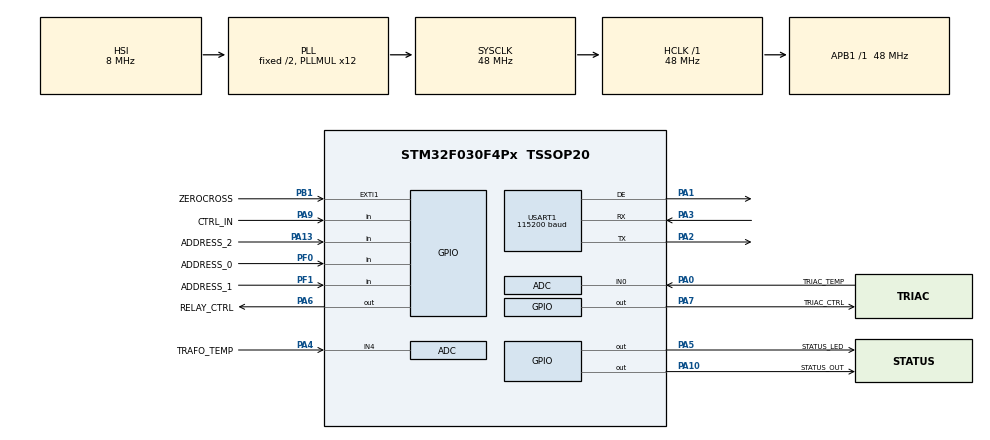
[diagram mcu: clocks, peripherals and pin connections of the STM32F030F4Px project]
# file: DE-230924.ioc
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Mcu.Family=STM32F0
Mcu.Name=STM32F030F4Px
Mcu.Package=TSSOP20
NVIC.EXTI0_1_IRQn=true\:0\:0\:false\:false\:true\:true\:true\:true
NVIC.TIM14_IRQn=true\:0\:0\:false\:false\:true\:true\:true\:true
NVIC.USART1_IRQn=true\:0\:0\:false\:false\:true\:true\:true\:true
PA0.GPIO_Label=TRIAC_TEMP
PA0.Mode=IN0
PA0.Signal=ADC_IN0
PA1.Mode=Hardware Flow Control (RS485)
PA1.Signal=USART1_DE
PA10.GPIO_Label=STATUS_OUT
PA10.Signal=GPIO_Output
PA13.GPIO_Label=ADDRESS_2
PA13.Signal=GPIO_Input
PA2.Mode=Asynchronous
PA2.Signal=USART1_TX
PA3.Mode=Asynchronous
PA3.Signal=USART1_RX
PA4.GPIO_Label=TRAFO_TEMP
PA4.Mode=IN4
PA4.Signal=ADC_IN4
PA5.GPIO_Label=STATUS_LED
PA5.Signal=GPIO_Output
PA6.GPIO_Label=RELAY_CTRL
PA6.Signal=GPIO_Output
PA7.GPIO_Label=TRIAC_CTRL
PA7.Signal=GPIO_Output
PA9.GPIO_Label=CTRL_IN
PA9.GPIO_PuPd=GPIO_PULLDOWN
PA9.Signal=GPIO_Input
PB1.GPIO_Label=ZEROCROSS
PB1.GPIO_PuPd=GPIO_PULLDOWN
PB1.Signal=GPXTI1
PF0-OSC_IN.GPIO_Label=ADDRESS_0
PF0-OSC_IN.GPIO_PuPd=GPIO_PULLUP
PF0-OSC_IN.Signal=GPIO_Input
PF1-OSC_OUT.GPIO_Label=ADDRESS_1
PF1-OSC_OUT.GPIO_PuPd=GPIO_PULLUP
PF1-OSC_OUT.Signal=GPIO_Input
ProjectManager.HeapSize=0x200
ProjectManager.StackSize=0x400
ProjectManager.TargetToolchain=MDK-ARM V5.32
RCC.AHBFreq_Value=48000000
RCC.APB1Freq_Value=48000000
RCC.APB1TimFreq_Value=48000000
RCC.HCLKFreq_Value=48000000
RCC.PLLMUL=RCC_PLL_MUL12
RCC.SYSCLKFreq_VALUE=48000000
RCC.SYSCLKSource=RCC_SYSCLKSOURCE_PLLCLK
TIM14.Period=4799
USART1.BaudRate=115200
USART1.VirtualMode-Asynchronous=VM_ASYNC
USART1.VirtualMode-Hardware\ Flow\ Control\ (RS485)=VM_ASYNC
VP_CRC_VS_CRC.Mode=CRC_Activate
VP_IWDG_VS_IWDG.Mode=IWDG_Activate
VP_TIM14_VS_ClockSourceINT.Mode=Enable_Timer
board=custom

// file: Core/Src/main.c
/* USER CODE BEGIN Header */
/**
  ******************************************************************************
  * @file           : main.c
  * @brief          : Main program body
  ******************************************************************************
  * @attention
  *
  * Copyright (c) 2024 STMicroelectronics.
  * All rights reserved.
  *
  * This software is licensed under terms that can be found in the LICENSE file
  * in the root directory of this software component.
  * If no LICENSE file comes with this software, it is provided AS-IS.
  *
  ******************************************************************************
  */
/* USER CODE END Header */
#include "main.h"

/* USER CODE BEGIN Includes */
#include <math.h>
/* USER CODE END Includes */

/* USER CODE BEGIN PD */
typedef enum
{
    INIT = 0,
    IDLE,
    START,
    RUN,
    STOP,
    SYS_ERROR
} sys_state_td;

#define ADC_READOUT_PERIOD 100
#define NTC_RREF                    10000U  // 10k NTC value of at 25 degrees
#define NTC_B_VALUE                 3977U   // NTC beta parameter
#define NTC_PULLUP                  10000U	// 10k pullup resistor
#define STARTUP_TIME                2000U   // max startup time
#define MIN_ANGLE                   80      // shutdown triac before zeroross
#define START_ANGLE                 75      // zerocros x 100uS triac startup angle
#define STOP_ANGLE                  5       // zerocros x 100uS triac stop angle
#define RELAY_SW_TIME               20      // 20mS relay to switch state
#define TRAFO_TEMP_TRESHOLD         400     // adc value for trafo ntc sensor overtemperature  error
#define TRIAC_TEMP_TRESHOLD         400     // adc value for triac ntc sensor overtemperature  error
#define SENSOR_VALID_DN_TRESHOLD    10      // adc value below this means that the sensor is not used
#define SENSOR_VALID_UP_TRESHOLD    4000    // adc value above this means that the sensor is open
#define SS_START                    0xA1
#define SS_STOP                     0xA2
#define SS_START_ALL                0xA3
#define SS_STOP_ALL                 0xA4
/* USER CODE END PD */

/* USER CODE BEGIN PM */
#define SoftStartReady()                (sys_flags |= (1U << 0))
#define SoftStartError()                (sys_flags &= (~(1U << 0)))
#define SoftStartOn()                   (sys_flags |= (1U << 1))
#define SoftStartOff()                  (sys_flags &= (~(1U << 1)))
#define TrafoTemperatureSensorUsed()    (sys_flags |= (1U << 2))
#define TrafoTemperatureSensorNotUsed() (sys_flags &= (~(1U << 2)))
#define IsTrafoTemperatureSensorUsed()  (sys_flags & (1U << 2))
#define TriacTemperatureSensorUsed()    (sys_flags |= (1U << 3))
#define TriacTemperatureSensorNotUsed() (sys_flags &= (~(1U << 3)))
#define IsTriacTemperatureSensorUsed()  (sys_flags & (1U << 3))
#define TrafoTemperatureErrorSet()      (sys_flags |= (1U << 4))
#define TrafoTemperatureErrorReset()    (sys_flags &= (~(1U << 4)))
#define IsTrafoTemperatureErrorActiv()  (sys_flags & (1U << 4))
#define TriacTemperatureErrorSet()      (sys_flags |= (1U << 5))
#define TriacTemperatureErrorReset()    (sys_flags &= (~(1U << 5)))
#define IsTriacTemperatureErrorActiv()  (sys_flags & (1U << 5))
#define TimeoutErrorSet()               (sys_flags |= (1U << 6))
#define TimeoutErrorReset()             (sys_flags &= (~(1U << 6)))
#define IsTimeoutErrorActiv()           (sys_flags & (1U << 6))
/* USER CODE END PM */

ADC_HandleTypeDef hadc;

CRC_HandleTypeDef hcrc;

IWDG_HandleTypeDef hiwdg;

TIM_HandleTypeDef htim14;

UART_HandleTypeDef huart1;

/* USER CODE BEGIN PV */
TinyFrame tfapp;
uint8_t rec, addr;
uint8_t sys_flags;
uint8_t led_cnt;
uint8_t led_rep;
uint8_t error_cnt;

uint16_t trafo_temp;
uint16_t triac_temp;
volatile uint16_t tmr;
volatile uint8_t blink_done = 0;
uint32_t chktmr;
uint32_t start_tmr;
uint32_t start_tout;
uint32_t led_tmr;
uint32_t led_tout;
uint32_t start_led_tmr;

bool init_tf = false;
volatile bool start = false;
volatile bool stop = false;
volatile bool end = false;
volatile bool error = false;
volatile bool remote = false;
static bool trigger1 = false;
static bool trigger2 = false;
sys_state_td sys_state = INIT;
/* USER CODE END PV */

void SystemClock_Config(void);
static void MX_GPIO_Init(void);
static void MX_ADC_Init(void);
static void MX_IWDG_Init(void);
static void MX_TIM14_Init(void);
static void MX_USART1_UART_Init(void);
static void MX_CRC_Init(void);
/* USER CODE BEGIN PFP */
void RS485_Tick(void);
void RS485_Init(void);
static void ADC3_Read(void);
static void Error_Signal(void);
static uint8_t ReadAddressAndDelay(void);
static void HandleLedBlink(uint32_t repetitions);
TF_Result STATUS_Listener(TinyFrame *tf, TF_Msg *msg);
TF_Result SOFTSTART_Listener(TinyFrame *tf, TF_Msg *msg);
/* USER CODE END PFP */

int main(void)
{

    /* MCU Configuration--------------------------------------------------------*/

    /* Reset of all peripherals, Initializes the Flash interface and the Systick. */
    HAL_Init();

    /* Configure the system clock */
    SystemClock_Config();

    /* Initialize all configured peripherals */
    MX_GPIO_Init();
    MX_ADC_Init();
    MX_IWDG_Init();
    MX_TIM14_Init();
    MX_USART1_UART_Init();
    MX_CRC_Init();
    /* USER CODE BEGIN 2 */
    RS485_Init();

    /* USER CODE END 2 */

    /* Infinite loop */
    /* USER CODE BEGIN WHILE */
    while(1)
    {
        ADC3_Read();
        if(error == true) sys_state = SYS_ERROR;
        switch(sys_state)
        {
        case INIT:
            HAL_Delay(500);
            HAL_GPIO_WritePin(STATUS_LED_GPIO_Port, STATUS_LED_Pin, GPIO_PIN_RESET);
            HAL_GPIO_WritePin(STATUS_OUT_GPIO_Port, STATUS_OUT_Pin, GPIO_PIN_RESET);
            HAL_GPIO_WritePin(RELAY_CTRL_GPIO_Port, RELAY_CTRL_Pin, GPIO_PIN_RESET);
            HAL_GPIO_WritePin(TRIAC_CTRL_GPIO_Port, TRIAC_CTRL_Pin, GPIO_PIN_RESET);
            addr = ReadAddressAndDelay();
            start_tout = addr * 2000U;
            HAL_Delay(500);
            SoftStartReady();
            TimeoutErrorReset();
            TriacTemperatureErrorReset();
            TrafoTemperatureErrorReset();
            sys_state = IDLE;
            trigger1 = false;
            trigger2 = false;
            remote = false;
            start = false;
            stop = false;
            end  = false;
            led_cnt = 0;
            led_rep = 0;
            led_tmr = 0;
            error_cnt = 0;
            led_tout = 0;
            break;

        case IDLE:
            SoftStartOff();
            SoftStartReady();
            if(!start_tmr && (remote || (HAL_GPIO_ReadPin(CTRL_IN_GPIO_Port, CTRL_IN_Pin) == GPIO_PIN_SET)))
            {
                start_tmr = HAL_GetTick();
                start_led_tmr = HAL_GetTick();
            }
            else if(start_tmr && !remote && (HAL_GPIO_ReadPin(CTRL_IN_GPIO_Port, CTRL_IN_Pin) == GPIO_PIN_RESET))
            {
                start_tmr = 0;
                start_led_tmr = 0;
                HAL_GPIO_WritePin(STATUS_LED_GPIO_Port, STATUS_LED_Pin, GPIO_PIN_RESET);
            }
            if(start_tmr && ((HAL_GetTick() - start_tmr) >= start_tout))
            {
                HAL_GPIO_WritePin(STATUS_LED_GPIO_Port, STATUS_LED_Pin, GPIO_PIN_SET);
                HAL_GPIO_WritePin(STATUS_OUT_GPIO_Port, STATUS_OUT_Pin, GPIO_PIN_SET);
                chktmr = HAL_GetTick();
                start_tmr = 0;
                start_led_tmr = 0;
                sys_state = START;
                tmr = START_ANGLE;
                trigger1 = false;
                trigger2 = false;
                start = true;
                stop = false;
                end  = false;
            }
            else if(start_led_tmr && ((HAL_GetTick() - start_led_tmr) >= 50))
            {
                start_led_tmr = HAL_GetTick();
                HAL_GPIO_TogglePin(STATUS_LED_GPIO_Port, STATUS_LED_Pin);
            }
            break;

        case START:
            SoftStartOn();
            SoftStartReady();
            if(!remote && (HAL_GPIO_ReadPin(CTRL_IN_GPIO_Port, CTRL_IN_Pin) == GPIO_PIN_RESET))
            {
                chktmr = HAL_GetTick();
                sys_state = STOP;
                start = false;
                stop = true;
                end  = false;
            }
            else if(end == true)
            {
                HAL_GPIO_WritePin(RELAY_CTRL_GPIO_Port, RELAY_CTRL_Pin, GPIO_PIN_SET);
                chktmr = HAL_GetTick();
                sys_state = RUN;
            }
            if((HAL_GetTick() - chktmr) >= STARTUP_TIME)
            {
                TimeoutErrorSet();
                sys_state = SYS_ERROR;
            }
            break;

        case RUN:
            SoftStartOn();
            SoftStartReady();
            if(!remote && (HAL_GPIO_ReadPin(CTRL_IN_GPIO_Port, CTRL_IN_Pin) == GPIO_PIN_RESET))
            {
                chktmr = HAL_GetTick();
                tmr = STOP_ANGLE;
                sys_state = STOP;
                start = false;
                stop = true;
                end  = false;
                HAL_Delay(20);
                HAL_GPIO_WritePin(RELAY_CTRL_GPIO_Port, RELAY_CTRL_Pin, GPIO_PIN_RESET);
            }
            if((start && end) && ((HAL_GetTick() - chktmr) >= RELAY_SW_TIME))
            {
                start = false;
                stop = false;
                end  = false;
            }
            break;

        case STOP:
            SoftStartOff();
            SoftStartReady();
            if(end == true)
            {
                HAL_GPIO_WritePin(STATUS_LED_GPIO_Port, STATUS_LED_Pin, GPIO_PIN_RESET);
                HAL_GPIO_WritePin(STATUS_OUT_GPIO_Port, STATUS_OUT_Pin, GPIO_PIN_RESET);
                addr = ReadAddressAndDelay();
                start_tout = addr * 2000U;
                chktmr = HAL_GetTick();
                sys_state = IDLE;
                remote = false;
                start = false;
                stop = false;
                end  = false;
            }
            if((HAL_GetTick() - chktmr) >= STARTUP_TIME)
            {
                TimeoutErrorSet();
                sys_state = SYS_ERROR;
            }
            break;

        case SYS_ERROR:
            end = false;
            stop = false;
            start = false;
            SoftStartOff();
            SoftStartError();
            HAL_GPIO_WritePin(RELAY_CTRL_GPIO_Port, RELAY_CTRL_Pin, GPIO_PIN_RESET);
            HAL_GPIO_WritePin(TRIAC_CTRL_GPIO_Port, TRIAC_CTRL_Pin, GPIO_PIN_RESET);
            if(!remote && (HAL_GPIO_ReadPin(CTRL_IN_GPIO_Port, CTRL_IN_Pin) == GPIO_PIN_RESET) &&
                    !IsTrafoTemperatureErrorActiv() &&
                    !IsTriacTemperatureErrorActiv())
            {
                error = false;
                sys_state = INIT;
            }
            Error_Signal();
            break;
        }
        /* USER CODE END WHILE */

        /* USER CODE BEGIN 3 */

#ifdef USE_WATCHDOG
        HAL_IWDG_Refresh(&hiwdg);
#endif
    }
    /* USER CODE END 3 */
}

void SystemClock_Config(void)
{
    RCC_OscInitTypeDef RCC_OscInitStruct = {0};
    RCC_ClkInitTypeDef RCC_ClkInitStruct = {0};
    RCC_PeriphCLKInitTypeDef PeriphClkInit = {0};

    /** Initializes the RCC Oscillators according to the specified parameters
    * in the RCC_OscInitTypeDef structure.
    */
    RCC_OscInitStruct.OscillatorType = RCC_OSCILLATORTYPE_HSI|RCC_OSCILLATORTYPE_HSI14
                                       |RCC_OSCILLATORTYPE_LSI;
    RCC_OscInitStruct.HSIState = RCC_HSI_ON;
    RCC_OscInitStruct.HSI14State = RCC_HSI14_ON;
    RCC_OscInitStruct.HSICalibrationValue = RCC_HSICALIBRATION_DEFAULT;
    RCC_OscInitStruct.HSI14CalibrationValue = 16;
    RCC_OscInitStruct.LSIState = RCC_LSI_ON;
    RCC_OscInitStruct.PLL.PLLState = RCC_PLL_ON;
    RCC_OscInitStruct.PLL.PLLSource = RCC_PLLSOURCE_HSI;
    RCC_OscInitStruct.PLL.PLLMUL = RCC_PLL_MUL12;
    RCC_OscInitStruct.PLL.PREDIV = RCC_PREDIV_DIV1;
    if (HAL_RCC_OscConfig(&RCC_OscInitStruct) != HAL_OK)
    {
        Error_Handler();
    }

    /** Initializes the CPU, AHB and APB buses clocks
    */
    RCC_ClkInitStruct.ClockType = RCC_CLOCKTYPE_HCLK|RCC_CLOCKTYPE_SYSCLK
                                  |RCC_CLOCKTYPE_PCLK1;
    RCC_ClkInitStruct.SYSCLKSource = RCC_SYSCLKSOURCE_PLLCLK;
    RCC_ClkInitStruct.AHBCLKDivider = RCC_SYSCLK_DIV1;
    RCC_ClkInitStruct.APB1CLKDivider = RCC_HCLK_DIV1;

    if (HAL_RCC_ClockConfig(&RCC_ClkInitStruct, FLASH_LATENCY_1) != HAL_OK)
    {
        Error_Handler();
    }
    PeriphClkInit.PeriphClockSelection = RCC_PERIPHCLK_USART1;
    PeriphClkInit.Usart1ClockSelection = RCC_USART1CLKSOURCE_PCLK1;
    if (HAL_RCCEx_PeriphCLKConfig(&PeriphClkInit) != HAL_OK)
    {
        Error_Handler();
    }
}

static void MX_ADC_Init(void)
{

    ADC_ChannelConfTypeDef sConfig = {0};

    /** Configure the global features of the ADC (Clock, Resolution, Data Alignment and number of conversion)
    */
    hadc.Instance = ADC1;
    hadc.Init.ClockPrescaler = ADC_CLOCK_ASYNC_DIV1;
    hadc.Init.Resolution = ADC_RESOLUTION_12B;
    hadc.Init.DataAlign = ADC_DATAALIGN_RIGHT;
    hadc.Init.ScanConvMode = ADC_SCAN_DIRECTION_FORWARD;
    hadc.Init.EOCSelection = ADC_EOC_SINGLE_CONV;
    hadc.Init.LowPowerAutoWait = DISABLE;
    hadc.Init.LowPowerAutoPowerOff = DISABLE;
    hadc.Init.ContinuousConvMode = DISABLE;
    hadc.Init.DiscontinuousConvMode = DISABLE;
    hadc.Init.ExternalTrigConv = ADC_SOFTWARE_START;
    hadc.Init.ExternalTrigConvEdge = ADC_EXTERNALTRIGCONVEDGE_NONE;
    hadc.Init.DMAContinuousRequests = DISABLE;
    hadc.Init.Overrun = ADC_OVR_DATA_PRESERVED;
    if (HAL_ADC_Init(&hadc) != HAL_OK)
    {
        Error_Handler();
    }

    /** Configure for the selected ADC regular channel to be converted.
    */
    sConfig.Channel = ADC_CHANNEL_0;
    sConfig.Rank = ADC_RANK_CHANNEL_NUMBER;
    sConfig.SamplingTime = ADC_SAMPLETIME_1CYCLE_5;
    if (HAL_ADC_ConfigChannel(&hadc, &sConfig) != HAL_OK)
    {
        Error_Handler();
    }

    /** Configure for the selected ADC regular channel to be converted.
    */
    sConfig.Channel = ADC_CHANNEL_4;
    if (HAL_ADC_ConfigChannel(&hadc, &sConfig) != HAL_OK)
    {
        Error_Handler();
    }

}

static void MX_CRC_Init(void)
{

    hcrc.Instance = CRC;
    hcrc.Init.DefaultInitValueUse = DEFAULT_INIT_VALUE_ENABLE;
    hcrc.Init.InputDataInversionMode = CRC_INPUTDATA_INVERSION_NONE;
    hcrc.Init.OutputDataInversionMode = CRC_OUTPUTDATA_INVERSION_DISABLE;
    hcrc.InputDataFormat = CRC_INPUTDATA_FORMAT_BYTES;
    if (HAL_CRC_Init(&hcrc) != HAL_OK)
    {
        Error_Handler();
    }

}

static void MX_IWDG_Init(void)
{

    /* USER CODE BEGIN IWDG_Init 0 */
#ifdef USE_WATCHDOG
    /* USER CODE END IWDG_Init 0 */

    hiwdg.Instance = IWDG;
    hiwdg.Init.Prescaler = IWDG_PRESCALER_32;
    hiwdg.Init.Window = 4095;
    hiwdg.Init.Reload = 4095;
    if (HAL_IWDG_Init(&hiwdg) != HAL_OK)
    {
        Error_Handler();
    }
    /* USER CODE BEGIN IWDG_Init 2 */
#endif
    /* USER CODE END IWDG_Init 2 */

}

static void MX_TIM14_Init(void)
{

    htim14.Instance = TIM14;
    htim14.Init.Prescaler = 0;
    htim14.Init.CounterMode = TIM_COUNTERMODE_UP;
    htim14.Init.Period = 4799;
    htim14.Init.ClockDivision = TIM_CLOCKDIVISION_DIV1;
    htim14.Init.AutoReloadPreload = TIM_AUTORELOAD_PRELOAD_DISABLE;
    if (HAL_TIM_Base_Init(&htim14) != HAL_OK)
    {
        Error_Handler();
    }

}

static void MX_USART1_UART_Init(void)
{

    huart1.Instance = USART1;
    huart1.Init.BaudRate = 115200;
    huart1.Init.WordLength = UART_WORDLENGTH_8B;
    huart1.Init.StopBits = UART_STOPBITS_1;
    huart1.Init.Parity = UART_PARITY_NONE;
    huart1.Init.Mode = UART_MODE_TX_RX;
    huart1.Init.HwFlowCtl = UART_HWCONTROL_NONE;
    huart1.Init.OverSampling = UART_OVERSAMPLING_16;
    huart1.Init.OneBitSampling = UART_ONE_BIT_SAMPLE_DISABLE;
    huart1.AdvancedInit.AdvFeatureInit = UART_ADVFEATURE_NO_INIT;
    if (HAL_RS485Ex_Init(&huart1, UART_DE_POLARITY_HIGH, 0, 0) != HAL_OK)
    {
        Error_Handler();
    }

}

static void MX_GPIO_Init(void)
{
    GPIO_InitTypeDef GPIO_InitStruct = {0};

    /* GPIO Ports Clock Enable */
    __HAL_RCC_GPIOF_CLK_ENABLE();
    __HAL_RCC_GPIOA_CLK_ENABLE();
    __HAL_RCC_GPIOB_CLK_ENABLE();

    /*Configure GPIO pin Output Level */
    HAL_GPIO_WritePin(GPIOA, STATUS_LED_Pin|RELAY_CTRL_Pin|TRIAC_CTRL_Pin|STATUS_OUT_Pin, GPIO_PIN_RESET);

    /*Configure GPIO pins : ADDRESS_0_Pin ADDRESS_1_Pin */
    GPIO_InitStruct.Pin = ADDRESS_0_Pin|ADDRESS_1_Pin;
    GPIO_InitStruct.Mode = GPIO_MODE_INPUT;
    GPIO_InitStruct.Pull = GPIO_PULLUP;
    HAL_GPIO_Init(GPIOF, &GPIO_InitStruct);

    /*Configure GPIO pins : STATUS_LED_Pin RELAY_CTRL_Pin TRIAC_CTRL_Pin STATUS_OUT_Pin */
    GPIO_InitStruct.Pin = STATUS_LED_Pin|RELAY_CTRL_Pin|TRIAC_CTRL_Pin|STATUS_OUT_Pin;
    GPIO_InitStruct.Mode = GPIO_MODE_OUTPUT_PP;
    GPIO_InitStruct.Pull = GPIO_NOPULL;
    GPIO_InitStruct.Speed = GPIO_SPEED_FREQ_LOW;
    HAL_GPIO_Init(GPIOA, &GPIO_InitStruct);

    /*Configure GPIO pin : ZEROCROSS_Pin */
    GPIO_InitStruct.Pin = ZEROCROSS_Pin;
    GPIO_InitStruct.Mode = GPIO_MODE_IT_RISING;
    GPIO_InitStruct.Pull = GPIO_PULLDOWN;
    HAL_GPIO_Init(ZEROCROSS_GPIO_Port, &GPIO_InitStruct);

    /*Configure GPIO pin : CTRL_IN_Pin */
    GPIO_InitStruct.Pin = CTRL_IN_Pin;
    GPIO_InitStruct.Mode = GPIO_MODE_INPUT;
    GPIO_InitStruct.Pull = GPIO_PULLDOWN;
    HAL_GPIO_Init(CTRL_IN_GPIO_Port, &GPIO_InitStruct);

    /*Configure GPIO pin : ADDRESS_2_Pin */
    GPIO_InitStruct.Pin = ADDRESS_2_Pin;
    GPIO_InitStruct.Mode = GPIO_MODE_INPUT;
    GPIO_InitStruct.Pull = GPIO_NOPULL;
    HAL_GPIO_Init(ADDRESS_2_GPIO_Port, &GPIO_InitStruct);

    /* EXTI interrupt init*/
    HAL_NVIC_SetPriority(EXTI0_1_IRQn, 0, 0);
    HAL_NVIC_EnableIRQ(EXTI0_1_IRQn);

}

/* USER CODE BEGIN 4 */
static uint8_t ReadAddressAndDelay(void)
{
    uint8_t tmp = 0;
    if(HAL_GPIO_ReadPin(ADDRESS_0_GPIO_Port, ADDRESS_0_Pin) == GPIO_PIN_RESET) tmp |= 0x01U;
    if(HAL_GPIO_ReadPin(ADDRESS_1_GPIO_Port, ADDRESS_1_Pin) == GPIO_PIN_RESET) tmp |= 0x02U;
    if(HAL_GPIO_ReadPin(ADDRESS_2_GPIO_Port, ADDRESS_2_Pin) == GPIO_PIN_RESET) tmp |= 0x04U;
    return tmp;
}
/**
  * @brief  stop timer interrupt, fire triac, and compare current angle in 100us increments
  * @param
  * @retval
  */
void HAL_TIM_PeriodElapsedCallback(TIM_HandleTypeDef *htim)
{

    static uint32_t loctmr = 0;

    __HAL_TIM_CLEAR_IT(&htim14, TIM_IT_UPDATE);

    ++loctmr;
    if((loctmr >= tmr) && !trigger1)
    {
        trigger1 = true;
        trigger2 = false;
//		HAL_TIM_Base_Stop_IT(&htim14);
        HAL_GPIO_WritePin(TRIAC_CTRL_GPIO_Port, TRIAC_CTRL_Pin, GPIO_PIN_SET);
        if(stop == true)
        {
            if(tmr < START_ANGLE) ++tmr;
            else end = true;
        }
        else if(start == true)
        {
            if(tmr > STOP_ANGLE) --tmr;
            else end = true;
        }
    }
    else if((loctmr >= MIN_ANGLE) && !trigger2) {
        loctmr = 0;
        trigger1 = false;
        trigger2 = true;
        HAL_TIM_Base_Stop_IT(&htim14);
        HAL_GPIO_WritePin(TRIAC_CTRL_GPIO_Port, TRIAC_CTRL_Pin, GPIO_PIN_RESET);
    }
}
/**
  * @brief
  * @param
  * @retval
  */
void HAL_GPIO_EXTI_Callback(uint16_t GPIO_Pin)
{
    if(GPIO_Pin == ZEROCROSS_Pin)
    {
        if(end == false) HAL_GPIO_WritePin(TRIAC_CTRL_GPIO_Port, TRIAC_CTRL_Pin, GPIO_PIN_RESET);
        if(((start == true) || (stop == true)) && (end == false))
        {
            HAL_TIM_Base_Stop_IT(&htim14);
            __HAL_TIM_SET_COUNTER(&htim14, 0);
            HAL_TIM_Base_Start_IT(&htim14);
        }
    }
}
/**
  * @brief
  * @param
  * @retval
  */
TF_Result STATUS_Listener(TinyFrame *tf, TF_Msg *msg)
{
    uint8_t ret[6];
    if(addr == msg->data[0])
    {
        ret[0] = sys_flags;
        ret[1] = sys_state;
        ret[2] = (trafo_temp >> 8);
        ret[3] = (trafo_temp & 0xFF);
        ret[4] = (triac_temp >> 8);
        ret[5] = (triac_temp & 0xFF);
        msg->data = ret;
        msg->len = 6;
        TF_Respond(tf, msg);
    }
    return TF_STAY;
}
/**
  * @brief
  * @param
  * @retval
  */
TF_Result SOFTSTART_Listener(TinyFrame *tf, TF_Msg *msg)
{
    uint8_t ret[6], res = 0;

    if(addr == msg->data[0])
    {
        switch(msg->data[1])
        {
        case SS_START:
            ++res;
        case SS_START_ALL:
            remote = true;
            break;
        case SS_STOP:
            ++res;
        case SS_STOP_ALL:
            remote = false;
            break;
        default:
            break;
        }
    }

    if(res)
    {
        ret[0] = sys_flags;
        ret[1] = sys_state;
        ret[2] = (trafo_temp >> 8);
        ret[3] = (trafo_temp & 0xFF);
        ret[4] = (triac_temp >> 8);
        ret[5] = (triac_temp & 0xFF);
        msg->data = ret;
        msg->len = 8;
        TF_Respond(tf, msg);
    }
    return TF_STAY;
}
/**
  * @brief
  * @param
  * @retval
  */
void RS485_Init(void)
{
    if(!init_tf)
    {
        init_tf = TF_InitStatic(&tfapp, TF_SLAVE);
        TF_AddTypeListener(&tfapp, V_SOFT_START, STATUS_Listener);
        TF_AddTypeListener(&tfapp, S_SOFT_START, SOFTSTART_Listener);
    }
    HAL_UART_Receive_IT(&huart1, &rec, 1);
}
/**
  * @brief
  * @param
  * @retval
  */
void RS485_Tick(void)
{
    if(init_tf == true)
    {
        TF_Tick(&tfapp);
    }
}
/**
  * @brief
  * @param
  * @retval
  */
void TF_WriteImpl(TinyFrame *tf, const uint8_t *buff, uint32_t len)
{
    HAL_UART_Transmit(&huart1, (uint8_t*)buff, len, RESP_TOUT);
    while(huart1.gState != HAL_UART_STATE_READY) continue;
    HAL_UART_Receive_IT(&huart1, &rec, 1);
}
/**
  * @brief
  * @param
  * @retval
  */
void HAL_UART_RxCpltCallback(UART_HandleTypeDef *huart)
{
    TF_AcceptChar(&tfapp, rec);
    if(HAL_UART_Receive_IT(&huart1, &rec, 1) != HAL_OK)
    {
        Error_Handler();
    }
}
/**
  * @brief
  * @param
  * @retval
  */
void HAL_UART_TxCpltCallback(UART_HandleTypeDef *huart)
{
}
/**
  * @brief
  * @param
  * @retval
  */
void HAL_UART_ErrorCallback(UART_HandleTypeDef *huart)
{
    __HAL_UART_CLEAR_PEFLAG(&huart1);
    __HAL_UART_CLEAR_FEFLAG(&huart1);
    __HAL_UART_CLEAR_NEFLAG(&huart1);
    __HAL_UART_CLEAR_IDLEFLAG(&huart1);
    __HAL_UART_CLEAR_OREFLAG(&huart1);
    HAL_UART_AbortReceive(&huart1);
    HAL_UART_Receive_IT(&huart1, &rec, 1);
}
/**
  * @brief
  * @param
  * @retval
  */

static void ADC3_Read(void)
{
    ADC_ChannelConfTypeDef sConfig;

    static uint8_t adc_cnt = 0U;
    static uint32_t adc_timer = 0U;

    if((HAL_GetTick() - adc_timer) >= ADC_READOUT_PERIOD)
    {
        adc_timer = HAL_GetTick();
        sConfig.Rank = ADC_RANK_CHANNEL_NUMBER;
        sConfig.SamplingTime = ADC_SAMPLETIME_13CYCLES_5;

        if(adc_cnt == 0U)
        {
            sConfig.Channel = ADC_CHANNEL_0;
            HAL_ADC_ConfigChannel(&hadc, &sConfig);
            sConfig.Channel = ADC_CHANNEL_5;
            sConfig.Rank = ADC_RANK_NONE;
            HAL_ADC_ConfigChannel(&hadc, &sConfig);
        }
        else if(adc_cnt == 1U)
        {
            sConfig.Channel = ADC_CHANNEL_4;
            HAL_ADC_ConfigChannel(&hadc, &sConfig);
            sConfig.Channel = ADC_CHANNEL_0;
            sConfig.Rank = ADC_RANK_NONE;
            HAL_ADC_ConfigChannel(&hadc, &sConfig);
        }

        HAL_ADC_Start(&hadc);
        HAL_ADC_PollForConversion(&hadc, 10);

        if(adc_cnt == 0U)
        {
            triac_temp = HAL_ADC_GetValue(&hadc);
            if(triac_temp < SENSOR_VALID_DN_TRESHOLD)
            {
                TriacTemperatureSensorNotUsed();
                TriacTemperatureErrorReset();
            }
            else if((triac_temp <= TRIAC_TEMP_TRESHOLD) || (triac_temp > SENSOR_VALID_UP_TRESHOLD))
            {
                TriacTemperatureSensorUsed();
                TriacTemperatureErrorSet();
                error = true;
            }
            else
            {
                TriacTemperatureSensorUsed();
                TriacTemperatureErrorReset();
            }
            ++adc_cnt;
        }
        else if(adc_cnt == 1U)
        {
            trafo_temp = HAL_ADC_GetValue(&hadc);
            if(trafo_temp < SENSOR_VALID_DN_TRESHOLD)
            {
                TrafoTemperatureSensorNotUsed();
                TrafoTemperatureErrorReset();
            }
            else if((trafo_temp <= TRAFO_TEMP_TRESHOLD) || (trafo_temp > SENSOR_VALID_UP_TRESHOLD))
            {
                TrafoTemperatureSensorUsed();
                TrafoTemperatureErrorSet();
                error = true;
            }
            else
            {
                TrafoTemperatureSensorUsed();
                TrafoTemperatureErrorReset();
            }
            adc_cnt = 0;
        }
    }
}
/**
  * @brief
  * @param
  * @retval
  */
static void HandleLedBlink(uint32_t repetitions) {
    static uint32_t inner_counter = 0;

    if (inner_counter == 0) {
        ++led_cnt;
        led_rep = repetitions;
        led_tout = 200;
        led_tmr = HAL_GetTick();
        HAL_GPIO_WritePin(STATUS_LED_GPIO_Port, STATUS_LED_Pin, GPIO_PIN_SET);
        inner_counter++;
    } else {
        if (led_rep) {
            --led_rep;
            led_tmr = HAL_GetTick();
            HAL_GPIO_TogglePin(STATUS_LED_GPIO_Port, STATUS_LED_Pin);
        } else {
            led_cnt = 0;
            led_rep = 0;
            led_tmr = 0;
            led_tout = 1000;
            HAL_GPIO_WritePin(STATUS_LED_GPIO_Port, STATUS_LED_Pin, GPIO_PIN_RESET);
            inner_counter = 0;
            blink_done = 1; // Postavljanje blink_done na 1 kada je treptanje zavr�eno
        }
    }
}
/**
  * @brief
  * @param
  * @retval
  */
static void Error_Signal(void) {
    static uint8_t error_index = 0;
    static uint8_t error_order[] = {0, 1, 2};
    static uint8_t error_size = sizeof(error_order) / sizeof(error_order[0]);

    if ((HAL_GetTick() - led_tmr) >= led_tout) {
        switch (error_order[error_index]) {
        case 0:
            if (IsTrafoTemperatureErrorActiv() && blink_done == 0) {
                HandleLedBlink(0);
            } else {
                error_index++;
                blink_done = 0; // Resetovanje blink_done za sledeci slucaj gre�ke
            }
            break;
        case 1:
            if (IsTriacTemperatureErrorActiv() && blink_done == 0) {
                HandleLedBlink(2);
            } else {
                error_index++;
                blink_done = 0; // Resetovanje blink_done za sledeci slucaj gre�ke
            }
            break;
        case 2:
            if (IsTimeoutErrorActiv() && blink_done == 0) {
                HandleLedBlink(4);
            } else {
                error_index++;
                blink_done = 0; // Resetovanje blink_done za sledeci slucaj gre�ke
            }
            break;
        }

        if (error_index >= error_size) {
            error_index = 0; // Resetovanje na prvi slucaj gre�ke
        }

        if (led_cnt == 0) {
            led_tmr = HAL_GetTick();
        }
    }
}
/* USER CODE END 4 */

void Error_Handler(void)
{
    /* USER CODE BEGIN Error_Handler_Debug */
    /* User can add his own implementation to report the HAL error return state */
    __disable_irq();
    HAL_ADC_MspDeInit(&hadc);
    HAL_UART_MspDeInit(&huart1);
    HAL_TIM_Base_MspDeInit(&htim14);
    HAL_DeInit();

    while(1)
    {
        HAL_NVIC_SystemReset();
    }
    /* USER CODE END Error_Handler_Debug */
}
